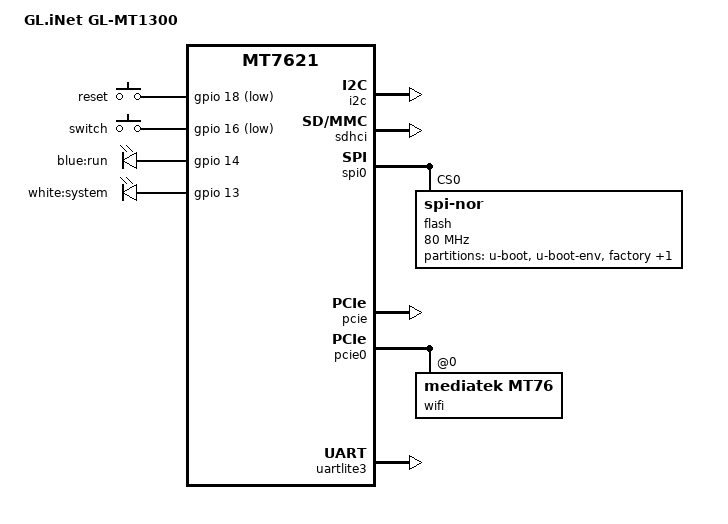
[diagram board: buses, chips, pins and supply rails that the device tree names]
// SPDX-License-Identifier: GPL-2.0-or-later OR MIT

#include "mt7621.dtsi"

#include <dt-bindings/gpio/gpio.h>
#include <dt-bindings/input/input.h>

/ {
	compatible = "glinet,gl-mt1300", "mediatek,mt7621-soc";
	model = "GL.iNet GL-MT1300";

	aliases {
		led-boot = &led_run;
		led-failsafe = &led_run;
		led-running = &led_run;
		led-upgrade = &led_run;
		label-mac-device = &wan;
	};

	chosen {
		bootargs = "console=ttyS0,115200";
	};

	keys {
		compatible = "gpio-keys";

		reset {
			label = "reset";
			gpios = <&gpio 18 GPIO_ACTIVE_LOW>;
			linux,code = <KEY_RESTART>;
		};

		switch {
			label = "switch";
			gpios = <&gpio 16 GPIO_ACTIVE_LOW>;
			linux,code = <BTN_0>;
			linux,input-type = <EV_SW>;
		};
	};

	leds {
		compatible = "gpio-leds";

		led_run: run {
			label = "blue:run";
			gpios = <&gpio 14 GPIO_ACTIVE_HIGH>;
		};

		system {
			label = "white:system";
			gpios = <&gpio 13 GPIO_ACTIVE_HIGH>;
		};
	};
};

&i2c {
	status = "okay";
};

&sdhci {
	status = "okay";
};

&spi0 {
	status = "okay";

	flash@0 {
		compatible = "jedec,spi-nor";
		reg = <0>;
		spi-max-frequency = <80000000>;
		m25p,fast-read;
		broken-flash-reset;

		partitions {
			compatible = "fixed-partitions";
			#address-cells = <1>;
			#size-cells = <1>;

			partition@0 {
				label = "u-boot";
				reg = <0x0 0x30000>;
				read-only;
			};

			partition@30000 {
				label = "u-boot-env";
				reg = <0x30000 0x10000>;
				read-only;
			};

			factory: partition@40000 {
				label = "factory";
				reg = <0x40000 0x10000>;
				read-only;
			};

			partition@50000 {
				compatible = "denx,uimage";
				label = "firmware";
				reg = <0x50000 0x1fb0000>;
			};
		};
	};
};

&pcie {
	status = "okay";
};

&pcie0 {
	wifi@0,0 {
		compatible = "mediatek,mt76";
		reg = <0x0000 0 0 0 0>;
		mediatek,mtd-eeprom = <&factory 0x0>;
	};
};

&gmac0 {
	nvmem-cells = <&macaddr_factory_4000>;
	nvmem-cell-names = "mac-address";
	mac-address-increment = <1>;
};

&switch0 {
	ports {
		port@2 {
			status = "okay";
			label = "lan1";
		};

		port@3 {
			status = "okay";
			label = "lan2";
		};

		wan: port@4 {
			status = "okay";
			label = "wan";
			nvmem-cells = <&macaddr_factory_4000>;
			nvmem-cell-names = "mac-address";
		};
	};
};

&uartlite3 {
	status = "okay";
};

&state_default {
	gpio {
		group = "wdt", "jtag";
		function = "gpio";
	};
};

&factory {
	compatible = "nvmem-cells";
	#address-cells = <1>;
	#size-cells = <1>;

	macaddr_factory_4000: macaddr@4000 {
		reg = <0x4000 0x6>;
	};
};
